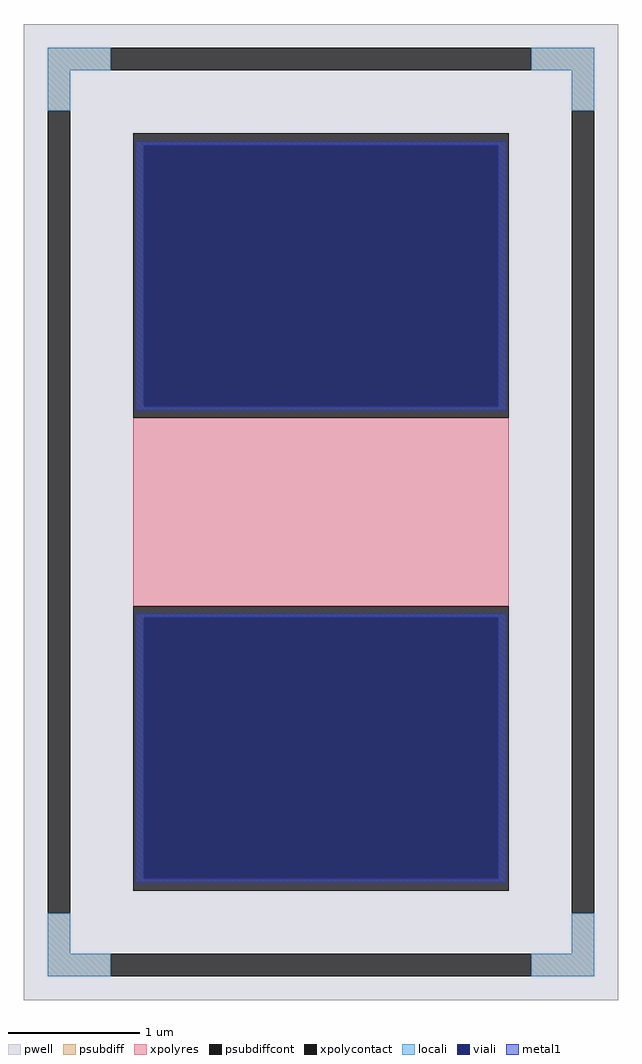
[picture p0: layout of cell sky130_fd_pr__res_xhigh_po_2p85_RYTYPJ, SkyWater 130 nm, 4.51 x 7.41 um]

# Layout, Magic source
magic
tech sky130A
magscale 1 2
<< pwell >>
rect -451 -741 451 741
<< psubdiff >>
rect -415 671 -319 705
rect 319 671 415 705
rect -415 609 -381 671
rect 381 609 415 671
rect -415 -671 -381 -609
rect 381 -671 415 -609
rect -415 -705 -319 -671
rect 319 -705 415 -671
<< psubdiffcont >>
rect -319 671 319 705
rect -415 -609 -381 609
rect 381 -609 415 609
rect -319 -705 319 -671
<< xpolycontact >>
rect -285 143 285 575
rect -285 -575 285 -143
<< xpolyres >>
rect -285 -143 285 143
<< locali >>
rect -415 671 -319 705
rect 319 671 415 705
rect -415 609 -381 671
rect 381 609 415 671
rect -415 -671 -381 -609
rect 381 -671 415 -609
rect -415 -705 -319 -671
rect 319 -705 415 -671
<< viali >>
rect -269 160 269 557
rect -269 -557 269 -160
<< metal1 >>
rect -281 557 281 563
rect -281 160 -269 557
rect 269 160 281 557
rect -281 154 281 160
rect -281 -160 281 -154
rect -281 -557 -269 -160
rect 269 -557 281 -160
rect -281 -563 281 -557
<< properties >>
string FIXED_BBOX -398 -688 398 688
string gencell sky130_fd_pr__res_xhigh_po_2p85
string library sky130
string parameters w 2.85 l 1.43 m 1 nx 1 wmin 2.850 lmin 0.50 rho 2000 val 1.135k dummy 0 dw 0.0 term 188.2 sterm 0.0 caplen 0 wmax 2.850 guard 1 glc 1 grc 1 gtc 1 gbc 1 compatible {sky130_fd_pr__res_xhigh_po_0p35  sky130_fd_pr__res_xhigh_po_0p69 sky130_fd_pr__res_xhigh_po_1p41  sky130_fd_pr__res_xhigh_po_2p85 sky130_fd_pr__res_xhigh_po_5p73} snake 0 full_metal 1 n_guard 0 hv_guard 0 vias 1 viagb 0 viagt 0 viagl 0 viagr 0
<< end >>
